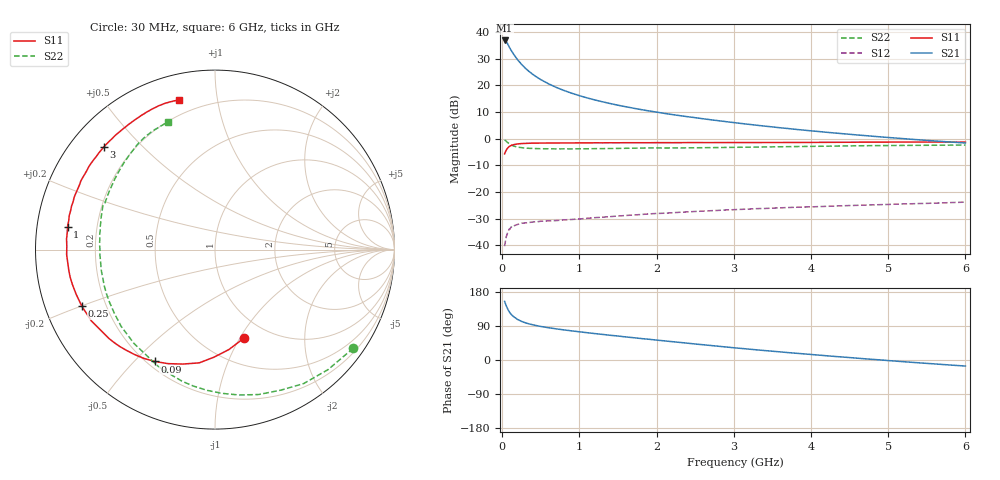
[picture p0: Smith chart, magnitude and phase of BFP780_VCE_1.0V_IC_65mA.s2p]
! Infineon Technologies  Discrete & RF Semiconductors
! BFP780
! VCE =  1.0 V,  IC =  65 mA
! Common Emitter S-Parameters:  Jul 2015
# GHz  S  MA  R  50
!  f  S11  S21  S12  S22
! GHz  MAG  ANG  MAG  ANG  MAG  ANG  MAG  ANG
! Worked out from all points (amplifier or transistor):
!   75 points, 30 MHz to 6 GHz, reference 50 ohm
!   highest |S21| = 36.8 dB at 30 MHz (marker M1)
!   |S21| within 3 dB of that: start of sweep to 100.5 MHz
!   unconditionally stable (mu >= 1): 1.868 GHz to end of sweep
!   at 150 MHz: K = 0.12, MSG = 32.1 dB, |S12| = -32.7 dB
!   at 2.3 GHz: K = 1.10, MAG = 16.2 dB, |S12| = -27.6 dB
!   at 6 GHz: K = 1.54, MAG = 6.8 dB, |S12| = -23.8 dB
!   S11 on the Smith chart (normalised r, x): 30 MHz: 0.78, -1.04; 90 MHz: 0.23, -0.57; 250 MHz: 0.11, -0.20; 1 GHz: 0.09, +0.08; 3 GHz: 0.10, +0.39; 6 GHz: 0.12, +0.78
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0.03  0.5183 -71.7  69.26 154.7  0.0096 70.3  0.9461 -35.5
0.04  0.5623 -82.1  68.03 148.9  0.0117 62.9  0.9188 -46.6
0.05  0.5992 -90.5  66.03 143.7  0.0143 53.4  0.8952 -56.5
0.06  0.637 -97.9  63.04 139.1  0.0156 58.0  0.8647 -64.9
0.08  0.6872 -112.4  55.85 130.7  0.0187 43.7  0.8211 -80.6
0.09  0.7081 -118.4  52.3 127.3  0.0201 42.5  0.8015 -87.4
0.11  0.7368 -127.5  46.4 121.7  0.0217 37.5  0.7695 -99.1
0.12  0.7473 -131.3  43.93 119.4  0.0222 37.1  0.7557 -104.1
0.15  0.7709 -140.0  37.67 113.8  0.0231 30.4  0.7224 -116.3
0.2  0.7957 -150.2  29.88 106.8  0.0246 26.1  0.6909 -130.7
0.25  0.8063 -157.1  24.64 101.9  0.0259 22.8  0.6756 -140.7
0.35  0.818 -166.3  17.99 95.1  0.0267 20.1  0.6566 -153.6
0.5  0.8232 -174.3  12.73 88.5  0.0282 18.4  0.6456 -164.9
0.7  0.8258 178.7  9.114 82.1  0.029 18.8  0.6409 -174.0
1  0.8317 171.1  6.379 74.4  0.0311 20.0  0.644 177.2
1.1  0.8305 168.9  5.786 72.0  0.032 20.8  0.6443 174.7
2.1  0.8392 151.3  2.97 50.5  0.0398 21.4  0.6654 157.3
3  0.8429 137.3  1.996 32.3  0.0464 18.0  0.6851 143.5
3.1  0.8433 135.9  1.918 30.5  0.0471 17.7  0.688 142.1
4.1  0.8492 122.2  1.356 12.9  0.053 13.3  0.7171 129.8
5.1  0.8606 111.4  1.023 -3.0  0.0589 8.5  0.7427 119.5
6  0.858 103.5  0.826 -16.0  0.0643 3.6  0.7569 110.4
